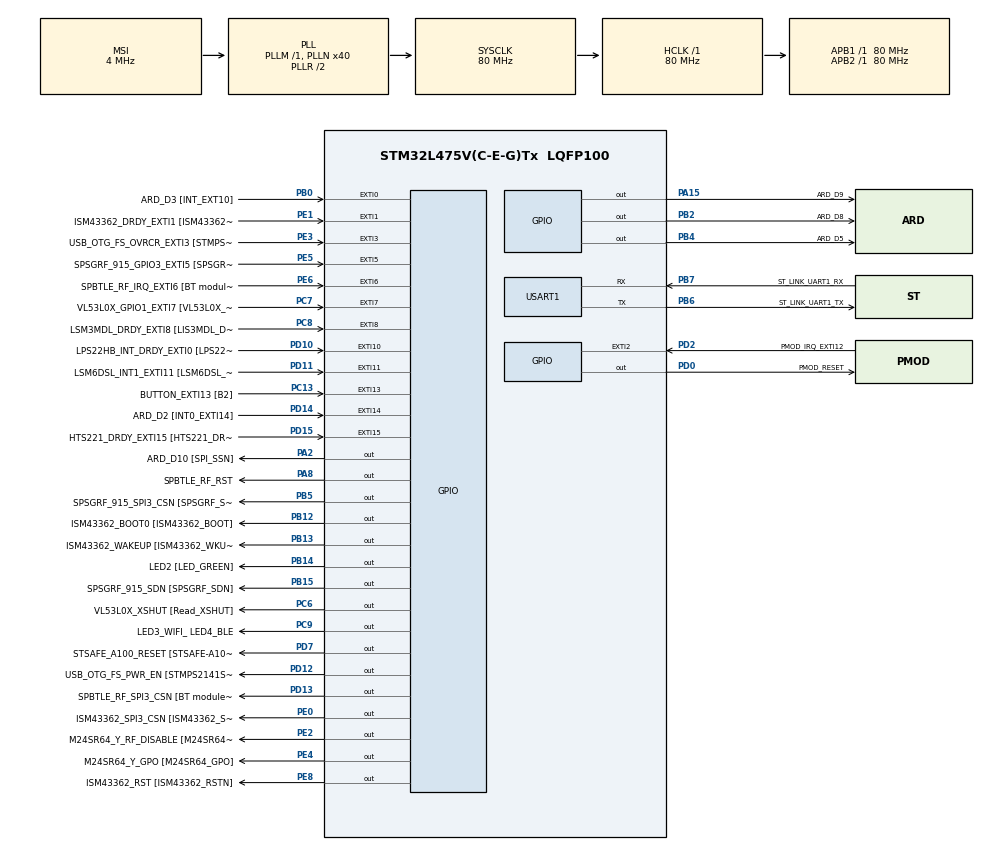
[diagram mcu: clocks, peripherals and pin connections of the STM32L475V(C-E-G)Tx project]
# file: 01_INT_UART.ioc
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Mcu.Family=STM32L4
Mcu.Name=STM32L475V(C-E-G)Tx
Mcu.Package=LQFP100
NVIC.EXTI15_10_IRQn=true\:0\:0\:false\:false\:true\:true\:true
NVIC.EXTI9_5_IRQn=true\:0\:0\:false\:false\:true\:true\:true
NVIC.PriorityGroup=NVIC_PRIORITYGROUP_4
NVIC.USART1_IRQn=true\:0\:0\:false\:false\:true\:true\:true
PA0.GPIO_Label=ARD_D1 [UART4_TX]
PA0.Signal=UART4_TX
PA1.GPIO_Label=ARD_D0 [UART4_RX]
PA1.Signal=UART4_RX
PA10.GPIO_Label=USB_OTG_FS_ID
PA10.Signal=USB_OTG_FS_ID
PA11.GPIO_Label=USB_OTG_FS_DM
PA11.Signal=USB_OTG_FS_DM
PA12.GPIO_Label=USB_OTG_FS_DP
PA12.Signal=USB_OTG_FS_DP
PA13\ (JTMS-SWDIO).GPIO_Label=SYS_JTMS_SWDIO
PA13\ (JTMS-SWDIO).Mode=Serial_Wire
PA13\ (JTMS-SWDIO).Signal=SYS_JTMS-SWDIO
PA14\ (JTCK-SWCLK).GPIO_Label=SYS_JTCK_SWCLK
PA14\ (JTCK-SWCLK).Mode=Serial_Wire
PA14\ (JTCK-SWCLK).Signal=SYS_JTCK-SWCLK
PA15\ (JTDI).GPIO_Label=ARD_D9
PA15\ (JTDI).Signal=GPIO_Output
PA2.GPIO_Label=ARD_D10 [SPI_SSN]
PA2.Signal=GPIO_Output
PA3.GPIO_Label=ARD_D4
PA3.Signal=S_TIM2_CH4
PA4.GPIO_Label=ARD_D7
PA4.Signal=ADCx_IN9
PA5.GPIO_Label=ARD_D13 [SPI1_SCK]
PA5.Signal=SPI1_SCK
PA6.GPIO_Label=ARD_D12 [SPI1_MISO]
PA6.Signal=SPI1_MISO
PA7.GPIO_Label=ARD_D11 [SPI1_MOSI]
PA7.Signal=SPI1_MOSI
PA8.GPIO_Label=SPBTLE_RF_RST
PA8.Signal=GPIO_Output
PA9.GPIO_Label=USB_OTG_FS_VBUS [STMPS2141STR_OUT]
PA9.Signal=USB_OTG_FS_VBUS
PB0.GPIO_Label=ARD_D3 [INT_EXT10]
PB0.Signal=GPXTI0
PB1.GPIO_Label=ARD_D6 [ADC1_IN6]
PB1.Signal=ADCx_IN16
PB10.GPIO_Label=INTERNAL_I2C2_SCL [VL53L0X_SCL]
PB10.Signal=I2C2_SCL
PB11.GPIO_Label=INTERNAL_I2C2_SDA [VL53L0X_SDA]
PB11.Signal=I2C2_SDA
PB12.GPIO_Label=ISM43362_BOOT0 [ISM43362_BOOT]
PB12.Signal=GPIO_Output
PB13.GPIO_Label=ISM43362_WAKEUP [ISM43362_WKUP]
PB13.Signal=GPIO_Output
PB14.GPIO_Label=LED2 [LED_GREEN]
PB14.Signal=GPIO_Output
PB15.GPIO_Label=SPSGRF_915_SDN [SPSGRF_SDN]
PB15.Signal=GPIO_Output
PB2.GPIO_Label=ARD_D8
PB2.Signal=GPIO_Output
PB3\ (JTDO-TRACESWO).GPIO_Label=SYS_JTD0_SWO
PB3\ (JTDO-TRACESWO).Signal=SYS_JTDO-SWO
PB4\ (NJTRST).GPIO_Label=ARD_D5
PB4\ (NJTRST).Signal=GPIO_Output
PB5.GPIO_Label=SPSGRF_915_SPI3_CSN [SPSGRF_SPI_CS]
PB5.PinState=GPIO_PIN_SET
PB5.Signal=GPIO_Output
PB6.GPIO_Label=ST_LINK_UART1_TX
PB6.Mode=Asynchronous
PB6.Signal=USART1_TX
PB7.GPIO_Label=ST_LINK_UART1_RX
PB7.Mode=Asynchronous
PB7.Signal=USART1_RX
PB8.GPIO_Label=ARD_D15 [I2C1_SCL]
PB8.Signal=I2C1_SCL
PB9.GPIO_Label=ARD_D14 [I2C1_SDA]
PB9.Signal=I2C1_SDA
PC0.GPIO_Label=ARD_A5 [ADC]
PC0.Signal=ADCx_IN1
PC1.GPIO_Label=ARD_A4 [ADC]
PC1.Signal=ADCx_IN2
PC10.GPIO_Label=INTERNAL_SPI3_SCK [BT module_SPI_SCLK] [ISM43362_SCK]
PC10.Signal=SPI3_SCK
PC11.GPIO_Label=INTERNAL_SPI3_MISO [BT module_SPI_MISO] [ISM43362_MISO]
PC11.Signal=SPI3_MISO
PC12.GPIO_Label=INTERNAL_SPI3_MOSI [BT module_SPI_MOSI] [ISM43362_MOSI]
PC12.Signal=SPI3_MOSI
PC13.GPIO_Label=BUTTON_EXTI13 [B2]
PC13.GPIO_ModeDefaultEXTI=GPIO_MODE_IT_FALLING
PC13.Signal=GPXTI13
PC14-OSC32_IN\ (PC14).Signal=RCC_OSC32_IN
PC15-OSC32_OUT\ (PC15).Signal=RCC_OSC32_OUT
PC2.GPIO_Label=ARD_A3 [ADC]
PC2.Signal=ADCx_IN3
PC3.GPIO_Label=ARD_A2 [ADC]
PC3.Signal=ADCx_IN4
PC4.GPIO_Label=ARD_A1 [ADC]
PC4.Signal=ADCx_IN13
PC5.GPIO_Label=ARD_A0 [ADC]
PC5.Signal=ADCx_IN14
PC6.GPIO_Label=VL53L0X_XSHUT [Read_XSHUT]
PC6.Signal=GPIO_Output
PC7.GPIO_Label=VL53L0X_GPIO1_EXTI7 [VL53L0X_GPIO1]
PC7.Signal=GPXTI7
PC8.GPIO_Label=LSM3MDL_DRDY_EXTI8 [LIS3MDL_DRDY]
PC8.Signal=GPXTI8
PC9.GPIO_Label=LED3_WIFI_ LED4_BLE
PC9.Signal=GPIO_Output
PD0.GPIO_Label=PMOD_RESET
PD0.Signal=GPIO_Output
PD1.GPIO_Label=PMOD_SPI2_SCK
PD1.Signal=SPI2_SCK
PD10.GPIO_Label=LPS22HB_INT_DRDY_EXTI0 [LPS22HB_INT_DRDY] 
PD10.Signal=GPXTI10
PD11.GPIO_Label=LSM6DSL_INT1_EXTI11 [LSM6DSL_INT1]
PD11.Signal=GPXTI11
PD12.GPIO_Label=USB_OTG_FS_PWR_EN [STMPS2141STR_EN]
PD12.Signal=GPIO_Output
PD13.GPIO_Label=SPBTLE_RF_SPI3_CSN [BT module_SPI_CS]
PD13.PinState=GPIO_PIN_SET
PD13.Signal=GPIO_Output
PD14.GPIO_Label=ARD_D2 [INT0_EXTI14]
PD14.Signal=GPXTI14
PD15.GPIO_Label=HTS221_DRDY_EXTI15 [HTS221_DRDY]
PD15.Signal=GPXTI15
PD2.GPIO_Label=PMOD_IRQ_EXTI12
PD2.Signal=GPXTI2
PD3.GPIO_Label=PMOD_UART2_CTS
PD3.Signal=USART2_CTS
PD4.GPIO_Label=PMOD_UART2_RTS
PD4.Signal=USART2_RTS
PD5.GPIO_Label=PMOD_UART2_TX
PD5.Signal=USART2_TX
PD6.GPIO_Label=PMOD_UART2_RX
PD6.Signal=USART2_RX
PD7.GPIO_Label=STSAFE_A100_RESET [STSAFE-A100_RESET]
PD7.Signal=GPIO_Output
PD8.GPIO_Label=INTERNAL_UART3_TX [ISM43362_RX]
PD8.Signal=USART3_TX
PD9.GPIO_Label=INTERNAL_UART3_RX [ISM43362_TX]
PD9.Signal=USART3_RX
PE0.GPIO_Label=ISM43362_SPI3_CSN [ISM43362_SSN]
PE0.PinState=GPIO_PIN_SET
PE0.Signal=GPIO_Output
PE1.GPIO_Label=ISM43362_DRDY_EXTI1 [ISM43362_DATARDY]
PE1.Signal=GPXTI1
PE10.GPIO_Label=QUADSPI_CLK [MX25R6435F_SCLK]
PE10.Signal=QUADSPI_CLK
PE11.GPIO_Label=QUADSPI_NCS [MX25R6435F_SCLK]
PE11.Signal=QUADSPI_NCS
PE12.GPIO_Label=OQUADSPI_BK1_IO0 [MX25R6435F_IO0]
PE12.Signal=QUADSPI_BK1_IO0
PE13.GPIO_Label=QUADSPI_BK1_IO1 [MX25R6435F_IO1]
PE13.Signal=QUADSPI_BK1_IO1
PE14.GPIO_Label=QUAD_SPI_BK1_IO2 [MX25R6435F_IO2]
PE14.Signal=QUADSPI_BK1_IO2
PE15.GPIO_Label=QUAD_SPI_BK1_IO3 [MX25R6435F_IO3]
PE15.Signal=QUADSPI_BK1_IO3
PE2.GPIO_Label=M24SR64_Y_RF_DISABLE [M24SR64_RFDIS]
PE2.Signal=GPIO_Output
PE3.GPIO_Label=USB_OTG_FS_OVRCR_EXTI3 [STMPS2141STR_FAULT]
PE3.Signal=GPXTI3
PE4.GPIO_Label=M24SR64_Y_GPO [M24SR64_GPO]
PE4.Signal=GPIO_Output
PE5.GPIO_Label=SPSGRF_915_GPIO3_EXTI5 [SPSGRF_GPIO_3]
PE5.Signal=GPXTI5
PE6.GPIO_Label=SPBTLE_RF_IRQ_EXTI6 [BT module_SPI_IRQ]
PE6.Signal=GPXTI6
PE7.GPIO_Label=DFSDM1_DATIN2 [MP34DT01_DOUT]
PE7.Signal=S_DATAIN2DFSDM1
PE8.GPIO_Label=ISM43362_RST [ISM43362_RSTN]
PE8.Signal=GPIO_Output
PE9.GPIO_Label=DFSDM1_CKOUT [MP34DT01_CLK]
PE9.Signal=S_CKOUTDFSDM1
ProjectManager.HeapSize=0x200
ProjectManager.StackSize=0x400
ProjectManager.TargetToolchain=STM32CubeIDE
RCC.ADCFreq_Value=48000000
RCC.AHBFreq_Value=80000000
RCC.APB1Freq_Value=80000000
RCC.APB1TimFreq_Value=80000000
RCC.APB2Freq_Value=80000000
RCC.APB2TimFreq_Value=80000000
RCC.CortexFreq_Value=80000000
RCC.HCLKFreq_Value=80000000
RCC.HSE_VALUE=8000000
RCC.HSI_VALUE=16000000
RCC.LSE_VALUE=32768
RCC.MSI_VALUE=4000000
RCC.PLLN=40
RCC.PLLSAI1N=24
RCC.SYSCLKFreq_VALUE=80000000
RCC.SYSCLKSource=RCC_SYSCLKSOURCE_PLLCLK
RCC.USBFreq_Value=48000000
RCC.VCOOutputFreq_Value=160000000
SH.ADCx_IN1.0=ADC1_IN1
SH.ADCx_IN13.0=ADC1_IN13
SH.ADCx_IN14.0=ADC1_IN14
SH.ADCx_IN16.0=ADC1_IN16
SH.ADCx_IN2.0=ADC1_IN2
SH.ADCx_IN3.0=ADC1_IN3
SH.ADCx_IN4.0=ADC1_IN4
SH.ADCx_IN9.0=ADC1_IN9
SH.S_CKOUTDFSDM1.0=DFSDM1_CKOUT
SH.S_DATAIN2DFSDM1.0=DFSDM1_DATIN2
SH.S_TIM2_CH4.0=TIM2_CH4
USART1.VirtualMode-Asynchronous=VM_ASYNC
board=B-L475E-IOT01A1

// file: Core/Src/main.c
/* USER CODE BEGIN Header */
/**
  ******************************************************************************
  * @file           : main.c
  * @brief          : Main program body
  ******************************************************************************
  * @attention
  *
  * <h2><center>&copy; Copyright (c) 2022 STMicroelectronics.
  * All rights reserved.</center></h2>
  *
  * This software component is licensed by ST under BSD 3-Clause license,
  * the "License"; You may not use this file except in compliance with the
  * License. You may obtain a copy of the License at:
  *                        opensource.org/licenses/BSD-3-Clause
  *
  ******************************************************************************
  */
/* USER CODE END Header */
#include "main.h"

/* USER CODE BEGIN Includes */
#include"stdio.h"
#include"string.h"
/* USER CODE END Includes */

/* USER CODE BEGIN PD */
#define SIZE_OF_RX_BUFF 20
/* USER CODE END PD */

UART_HandleTypeDef huart1;

/* USER CODE BEGIN PV */
//char TxBuffer[]="HELLO UART1 INT..!!\r\n";
//char RxBuffer[20]={0};
uint8_t TxBuffer[]="HELLO UART1 INT..!!\r\n";
uint8_t UART1_rxBuffer[SIZE_OF_RX_BUFF] = {0};
uint8_t size1=0;
uint8_t count=0;
/* USER CODE END PV */

void SystemClock_Config(void);
static void MX_GPIO_Init(void);
static void MX_USART1_UART_Init(void);
/* USER CODE BEGIN PFP */
void HAL_UART_RxCpltCallback(UART_HandleTypeDef *huart)
{

	//HAL_UART_Transmit(&huart1,RxBuffer, 1, 100);
	//HAL_UART_Receive_IT(&huart1, RxBuffer, 12);

 // if (huart->Instance == huart1.Instance)
	/*if (huart->Instance == USART1)
	  {
		 count++;
		 HAL_UART_Receive_IT(&huart1, RxBuffer[count], 1);

				 Transmit with 100 ms timeout
				//HAL_UART_Transmit(&huart1,RxBuffer, 1, 100);
	  }*/
}
/* USER CODE END PFP */

int main(void)
{

  /* MCU Configuration--------------------------------------------------------*/

  /* Reset of all peripherals, Initializes the Flash interface and the Systick. */

	HAL_Init();

  /* Co
   * nfigure the system clock */
  SystemClock_Config();

  /* Initialize all configured peripherals */
  MX_GPIO_Init();
  MX_USART1_UART_Init();
  /* USER CODE BEGIN 2 */

  //first = RxBuffer;

  printf("print for debuging \n");
  HAL_UART_Transmit_IT(&huart1, TxBuffer, strlen(TxBuffer));
 // printf("\n%d\n",HAL_UART_Receive_IT(&huart1, RxBuffer, 20));
 // memset(RxBuffer, 0, size1);

  /* USER CODE END 2 */

  /* Infinite loop */
  while (1)
  {

    /* USER CODE BEGIN 3 */
	  HAL_UART_Receive_IT(&huart1, UART1_rxBuffer, 12);
	  size1 = strlen(UART1_rxBuffer);

	  if (UART1_rxBuffer[size1-1] == '\r')
	  {
		  UART1_rxBuffer[size1] = '\n';
		  HAL_UART_Transmit(&huart1, UART1_rxBuffer, SIZE_OF_RX_BUFF, 50);
		  memset(UART1_rxBuffer, 0, SIZE_OF_RX_BUFF);
		  //size1 = strlen(UART1_rxBuffer);
	  }

	  if(UART1_rxBuffer[size1] == '\r')
	  	  {
	  		 // size1 = strlen(UART1_rxBuffer);
		  	  UART1_rxBuffer[size1+1] = '\n';
			  HAL_UART_Transmit(&huart1, UART1_rxBuffer, SIZE_OF_RX_BUFF, 50);
			  memset(UART1_rxBuffer, 0, SIZE_OF_RX_BUFF);

	  	  }
  }

  /* USER CODE END 3 */
}

void SystemClock_Config(void)
{
  RCC_OscInitTypeDef RCC_OscInitStruct = {0};
  RCC_ClkInitTypeDef RCC_ClkInitStruct = {0};

  /** Configure the main internal regulator output voltage
  */
  if (HAL_PWREx_ControlVoltageScaling(PWR_REGULATOR_VOLTAGE_SCALE1) != HAL_OK)
  {
    Error_Handler();
  }
  /** Initializes the RCC Oscillators according to the specified parameters
  * in the RCC_OscInitTypeDef structure.
  */
  RCC_OscInitStruct.OscillatorType = RCC_OSCILLATORTYPE_MSI;
  RCC_OscInitStruct.MSIState = RCC_MSI_ON;
  RCC_OscInitStruct.MSICalibrationValue = 0;
  RCC_OscInitStruct.MSIClockRange = RCC_MSIRANGE_6;
  RCC_OscInitStruct.PLL.PLLState = RCC_PLL_ON;
  RCC_OscInitStruct.PLL.PLLSource = RCC_PLLSOURCE_MSI;
  RCC_OscInitStruct.PLL.PLLM = 1;
  RCC_OscInitStruct.PLL.PLLN = 40;
  RCC_OscInitStruct.PLL.PLLP = RCC_PLLP_DIV7;
  RCC_OscInitStruct.PLL.PLLQ = RCC_PLLQ_DIV2;
  RCC_OscInitStruct.PLL.PLLR = RCC_PLLR_DIV2;
  if (HAL_RCC_OscConfig(&RCC_OscInitStruct) != HAL_OK)
  {
    Error_Handler();
  }
  /** Initializes the CPU, AHB and APB buses clocks
  */
  RCC_ClkInitStruct.ClockType = RCC_CLOCKTYPE_HCLK|RCC_CLOCKTYPE_SYSCLK
                              |RCC_CLOCKTYPE_PCLK1|RCC_CLOCKTYPE_PCLK2;
  RCC_ClkInitStruct.SYSCLKSource = RCC_SYSCLKSOURCE_PLLCLK;
  RCC_ClkInitStruct.AHBCLKDivider = RCC_SYSCLK_DIV1;
  RCC_ClkInitStruct.APB1CLKDivider = RCC_HCLK_DIV1;
  RCC_ClkInitStruct.APB2CLKDivider = RCC_HCLK_DIV1;

  if (HAL_RCC_ClockConfig(&RCC_ClkInitStruct, FLASH_LATENCY_4) != HAL_OK)
  {
    Error_Handler();
  }
}

static void MX_USART1_UART_Init(void)
{

  huart1.Instance = USART1;
  huart1.Init.BaudRate = 115200;
  huart1.Init.WordLength = UART_WORDLENGTH_8B;
  huart1.Init.StopBits = UART_STOPBITS_1;
  huart1.Init.Parity = UART_PARITY_NONE;
  huart1.Init.Mode = UART_MODE_TX_RX;
  huart1.Init.HwFlowCtl = UART_HWCONTROL_NONE;
  huart1.Init.OverSampling = UART_OVERSAMPLING_16;
  huart1.Init.OneBitSampling = UART_ONE_BIT_SAMPLE_DISABLE;
  huart1.AdvancedInit.AdvFeatureInit = UART_ADVFEATURE_NO_INIT;
  if (HAL_UART_Init(&huart1) != HAL_OK)
  {
    Error_Handler();
  }

}

static void MX_GPIO_Init(void)
{
  GPIO_InitTypeDef GPIO_InitStruct = {0};

  /* GPIO Ports Clock Enable */
  __HAL_RCC_GPIOE_CLK_ENABLE();
  __HAL_RCC_GPIOC_CLK_ENABLE();
  __HAL_RCC_GPIOA_CLK_ENABLE();
  __HAL_RCC_GPIOB_CLK_ENABLE();
  __HAL_RCC_GPIOD_CLK_ENABLE();

  /*Configure GPIO pin Output Level */
  HAL_GPIO_WritePin(GPIOE, M24SR64_Y_RF_DISABLE_Pin|M24SR64_Y_GPO_Pin|ISM43362_RST_Pin, GPIO_PIN_RESET);

  /*Configure GPIO pin Output Level */
  HAL_GPIO_WritePin(GPIOA, ARD_D10_Pin|SPBTLE_RF_RST_Pin|ARD_D9_Pin, GPIO_PIN_RESET);

  /*Configure GPIO pin Output Level */
  HAL_GPIO_WritePin(GPIOB, ARD_D8_Pin|ISM43362_BOOT0_Pin|ISM43362_WAKEUP_Pin|LED2_Pin
                          |SPSGRF_915_SDN_Pin|ARD_D5_Pin, GPIO_PIN_RESET);

  /*Configure GPIO pin Output Level */
  HAL_GPIO_WritePin(GPIOD, USB_OTG_FS_PWR_EN_Pin|PMOD_RESET_Pin|STSAFE_A100_RESET_Pin, GPIO_PIN_RESET);

  /*Configure GPIO pin Output Level */
  HAL_GPIO_WritePin(SPBTLE_RF_SPI3_CSN_GPIO_Port, SPBTLE_RF_SPI3_CSN_Pin, GPIO_PIN_SET);

  /*Configure GPIO pin Output Level */
  HAL_GPIO_WritePin(GPIOC, VL53L0X_XSHUT_Pin|LED3_WIFI__LED4_BLE_Pin, GPIO_PIN_RESET);

  /*Configure GPIO pin Output Level */
  HAL_GPIO_WritePin(SPSGRF_915_SPI3_CSN_GPIO_Port, SPSGRF_915_SPI3_CSN_Pin, GPIO_PIN_SET);

  /*Configure GPIO pin Output Level */
  HAL_GPIO_WritePin(ISM43362_SPI3_CSN_GPIO_Port, ISM43362_SPI3_CSN_Pin, GPIO_PIN_SET);

  /*Configure GPIO pins : M24SR64_Y_RF_DISABLE_Pin M24SR64_Y_GPO_Pin ISM43362_RST_Pin ISM43362_SPI3_CSN_Pin */
  GPIO_InitStruct.Pin = M24SR64_Y_RF_DISABLE_Pin|M24SR64_Y_GPO_Pin|ISM43362_RST_Pin|ISM43362_SPI3_CSN_Pin;
  GPIO_InitStruct.Mode = GPIO_MODE_OUTPUT_PP;
  GPIO_InitStruct.Pull = GPIO_NOPULL;
  GPIO_InitStruct.Speed = GPIO_SPEED_FREQ_LOW;
  HAL_GPIO_Init(GPIOE, &GPIO_InitStruct);

  /*Configure GPIO pins : USB_OTG_FS_OVRCR_EXTI3_Pin SPSGRF_915_GPIO3_EXTI5_Pin SPBTLE_RF_IRQ_EXTI6_Pin ISM43362_DRDY_EXTI1_Pin */
  GPIO_InitStruct.Pin = USB_OTG_FS_OVRCR_EXTI3_Pin|SPSGRF_915_GPIO3_EXTI5_Pin|SPBTLE_RF_IRQ_EXTI6_Pin|ISM43362_DRDY_EXTI1_Pin;
  GPIO_InitStruct.Mode = GPIO_MODE_IT_RISING;
  GPIO_InitStruct.Pull = GPIO_NOPULL;
  HAL_GPIO_Init(GPIOE, &GPIO_InitStruct);

  /*Configure GPIO pin : BUTTON_EXTI13_Pin */
  GPIO_InitStruct.Pin = BUTTON_EXTI13_Pin;
  GPIO_InitStruct.Mode = GPIO_MODE_IT_FALLING;
  GPIO_InitStruct.Pull = GPIO_NOPULL;
  HAL_GPIO_Init(BUTTON_EXTI13_GPIO_Port, &GPIO_InitStruct);

  /*Configure GPIO pins : ARD_A5_Pin ARD_A4_Pin ARD_A3_Pin ARD_A2_Pin
                           ARD_A1_Pin ARD_A0_Pin */
  GPIO_InitStruct.Pin = ARD_A5_Pin|ARD_A4_Pin|ARD_A3_Pin|ARD_A2_Pin
                          |ARD_A1_Pin|ARD_A0_Pin;
  GPIO_InitStruct.Mode = GPIO_MODE_ANALOG_ADC_CONTROL;
  GPIO_InitStruct.Pull = GPIO_NOPULL;
  HAL_GPIO_Init(GPIOC, &GPIO_InitStruct);

  /*Configure GPIO pins : ARD_D1_Pin ARD_D0_Pin */
  GPIO_InitStruct.Pin = ARD_D1_Pin|ARD_D0_Pin;
  GPIO_InitStruct.Mode = GPIO_MODE_AF_PP;
  GPIO_InitStruct.Pull = GPIO_NOPULL;
  GPIO_InitStruct.Speed = GPIO_SPEED_FREQ_VERY_HIGH;
  GPIO_InitStruct.Alternate = GPIO_AF8_UART4;
  HAL_GPIO_Init(GPIOA, &GPIO_InitStruct);

  /*Configure GPIO pins : ARD_D10_Pin SPBTLE_RF_RST_Pin ARD_D9_Pin */
  GPIO_InitStruct.Pin = ARD_D10_Pin|SPBTLE_RF_RST_Pin|ARD_D9_Pin;
  GPIO_InitStruct.Mode = GPIO_MODE_OUTPUT_PP;
  GPIO_InitStruct.Pull = GPIO_NOPULL;
  GPIO_InitStruct.Speed = GPIO_SPEED_FREQ_LOW;
  HAL_GPIO_Init(GPIOA, &GPIO_InitStruct);

  /*Configure GPIO pin : ARD_D4_Pin */
  GPIO_InitStruct.Pin = ARD_D4_Pin;
  GPIO_InitStruct.Mode = GPIO_MODE_AF_PP;
  GPIO_InitStruct.Pull = GPIO_NOPULL;
  GPIO_InitStruct.Speed = GPIO_SPEED_FREQ_LOW;
  GPIO_InitStruct.Alternate = GPIO_AF1_TIM2;
  HAL_GPIO_Init(ARD_D4_GPIO_Port, &GPIO_InitStruct);

  /*Configure GPIO pin : ARD_D7_Pin */
  GPIO_InitStruct.Pin = ARD_D7_Pin;
  GPIO_InitStruct.Mode = GPIO_MODE_ANALOG_ADC_CONTROL;
  GPIO_InitStruct.Pull = GPIO_NOPULL;
  HAL_GPIO_Init(ARD_D7_GPIO_Port, &GPIO_InitStruct);

  /*Configure GPIO pins : ARD_D13_Pin ARD_D12_Pin ARD_D11_Pin */
  GPIO_InitStruct.Pin = ARD_D13_Pin|ARD_D12_Pin|ARD_D11_Pin;
  GPIO_InitStruct.Mode = GPIO_MODE_AF_PP;
  GPIO_InitStruct.Pull = GPIO_NOPULL;
  GPIO_InitStruct.Speed = GPIO_SPEED_FREQ_VERY_HIGH;
  GPIO_InitStruct.Alternate = GPIO_AF5_SPI1;
  HAL_GPIO_Init(GPIOA, &GPIO_InitStruct);

  /*Configure GPIO pin : ARD_D3_Pin */
  GPIO_InitStruct.Pin = ARD_D3_Pin;
  GPIO_InitStruct.Mode = GPIO_MODE_IT_RISING;
  GPIO_InitStruct.Pull = GPIO_NOPULL;
  HAL_GPIO_Init(ARD_D3_GPIO_Port, &GPIO_InitStruct);

  /*Configure GPIO pin : ARD_D6_Pin */
  GPIO_InitStruct.Pin = ARD_D6_Pin;
  GPIO_InitStruct.Mode = GPIO_MODE_ANALOG_ADC_CONTROL;
  GPIO_InitStruct.Pull = GPIO_NOPULL;
  HAL_GPIO_Init(ARD_D6_GPIO_Port, &GPIO_InitStruct);

  /*Configure GPIO pins : ARD_D8_Pin ISM43362_BOOT0_Pin ISM43362_WAKEUP_Pin LED2_Pin
                           SPSGRF_915_SDN_Pin ARD_D5_Pin SPSGRF_915_SPI3_CSN_Pin */
  GPIO_InitStruct.Pin = ARD_D8_Pin|ISM43362_BOOT0_Pin|ISM43362_WAKEUP_Pin|LED2_Pin
                          |SPSGRF_915_SDN_Pin|ARD_D5_Pin|SPSGRF_915_SPI3_CSN_Pin;
  GPIO_InitStruct.Mode = GPIO_MODE_OUTPUT_PP;
  GPIO_InitStruct.Pull = GPIO_NOPULL;
  GPIO_InitStruct.Speed = GPIO_SPEED_FREQ_LOW;
  HAL_GPIO_Init(GPIOB, &GPIO_InitStruct);

  /*Configure GPIO pins : DFSDM1_DATIN2_Pin DFSDM1_CKOUT_Pin */
  GPIO_InitStruct.Pin = DFSDM1_DATIN2_Pin|DFSDM1_CKOUT_Pin;
  GPIO_InitStruct.Mode = GPIO_MODE_AF_PP;
  GPIO_InitStruct.Pull = GPIO_NOPULL;
  GPIO_InitStruct.Speed = GPIO_SPEED_FREQ_LOW;
  GPIO_InitStruct.Alternate = GPIO_AF6_DFSDM1;
  HAL_GPIO_Init(GPIOE, &GPIO_InitStruct);

  /*Configure GPIO pins : QUADSPI_CLK_Pin QUADSPI_NCS_Pin OQUADSPI_BK1_IO0_Pin QUADSPI_BK1_IO1_Pin
                           QUAD_SPI_BK1_IO2_Pin QUAD_SPI_BK1_IO3_Pin */
  GPIO_InitStruct.Pin = QUADSPI_CLK_Pin|QUADSPI_NCS_Pin|OQUADSPI_BK1_IO0_Pin|QUADSPI_BK1_IO1_Pin
                          |QUAD_SPI_BK1_IO2_Pin|QUAD_SPI_BK1_IO3_Pin;
  GPIO_InitStruct.Mode = GPIO_MODE_AF_PP;
  GPIO_InitStruct.Pull = GPIO_NOPULL;
  GPIO_InitStruct.Speed = GPIO_SPEED_FREQ_VERY_HIGH;
  GPIO_InitStruct.Alternate = GPIO_AF10_QUADSPI;
  HAL_GPIO_Init(GPIOE, &GPIO_InitStruct);

  /*Configure GPIO pins : INTERNAL_I2C2_SCL_Pin INTERNAL_I2C2_SDA_Pin */
  GPIO_InitStruct.Pin = INTERNAL_I2C2_SCL_Pin|INTERNAL_I2C2_SDA_Pin;
  GPIO_InitStruct.Mode = GPIO_MODE_AF_OD;
  GPIO_InitStruct.Pull = GPIO_NOPULL;
  GPIO_InitStruct.Speed = GPIO_SPEED_FREQ_VERY_HIGH;
  GPIO_InitStruct.Alternate = GPIO_AF4_I2C2;
  HAL_GPIO_Init(GPIOB, &GPIO_InitStruct);

  /*Configure GPIO pins : INTERNAL_UART3_TX_Pin INTERNAL_UART3_RX_Pin */
  GPIO_InitStruct.Pin = INTERNAL_UART3_TX_Pin|INTERNAL_UART3_RX_Pin;
  GPIO_InitStruct.Mode = GPIO_MODE_AF_PP;
  GPIO_InitStruct.Pull = GPIO_NOPULL;
  GPIO_InitStruct.Speed = GPIO_SPEED_FREQ_VERY_HIGH;
  GPIO_InitStruct.Alternate = GPIO_AF7_USART3;
  HAL_GPIO_Init(GPIOD, &GPIO_InitStruct);

  /*Configure GPIO pins : LPS22HB_INT_DRDY_EXTI0_Pin LSM6DSL_INT1_EXTI11_Pin ARD_D2_Pin HTS221_DRDY_EXTI15_Pin
                           PMOD_IRQ_EXTI12_Pin */
  GPIO_InitStruct.Pin = LPS22HB_INT_DRDY_EXTI0_Pin|LSM6DSL_INT1_EXTI11_Pin|ARD_D2_Pin|HTS221_DRDY_EXTI15_Pin
                          |PMOD_IRQ_EXTI12_Pin;
  GPIO_InitStruct.Mode = GPIO_MODE_IT_RISING;
  GPIO_InitStruct.Pull = GPIO_NOPULL;
  HAL_GPIO_Init(GPIOD, &GPIO_InitStruct);

  /*Configure GPIO pins : USB_OTG_FS_PWR_EN_Pin SPBTLE_RF_SPI3_CSN_Pin PMOD_RESET_Pin STSAFE_A100_RESET_Pin */
  GPIO_InitStruct.Pin = USB_OTG_FS_PWR_EN_Pin|SPBTLE_RF_SPI3_CSN_Pin|PMOD_RESET_Pin|STSAFE_A100_RESET_Pin;
  GPIO_InitStruct.Mode = GPIO_MODE_OUTPUT_PP;
  GPIO_InitStruct.Pull = GPIO_NOPULL;
  GPIO_InitStruct.Speed = GPIO_SPEED_FREQ_LOW;
  HAL_GPIO_Init(GPIOD, &GPIO_InitStruct);

  /*Configure GPIO pins : VL53L0X_XSHUT_Pin LED3_WIFI__LED4_BLE_Pin */
  GPIO_InitStruct.Pin = VL53L0X_XSHUT_Pin|LED3_WIFI__LED4_BLE_Pin;
  GPIO_InitStruct.Mode = GPIO_MODE_OUTPUT_PP;
  GPIO_InitStruct.Pull = GPIO_NOPULL;
  GPIO_InitStruct.Speed = GPIO_SPEED_FREQ_LOW;
  HAL_GPIO_Init(GPIOC, &GPIO_InitStruct);

  /*Configure GPIO pins : VL53L0X_GPIO1_EXTI7_Pin LSM3MDL_DRDY_EXTI8_Pin */
  GPIO_InitStruct.Pin = VL53L0X_GPIO1_EXTI7_Pin|LSM3MDL_DRDY_EXTI8_Pin;
  GPIO_InitStruct.Mode = GPIO_MODE_IT_RISING;
  GPIO_InitStruct.Pull = GPIO_NOPULL;
  HAL_GPIO_Init(GPIOC, &GPIO_InitStruct);

  /*Configure GPIO pin : USB_OTG_FS_VBUS_Pin */
  GPIO_InitStruct.Pin = USB_OTG_FS_VBUS_Pin;
  GPIO_InitStruct.Mode = GPIO_MODE_INPUT;
  GPIO_InitStruct.Pull = GPIO_NOPULL;
  HAL_GPIO_Init(USB_OTG_FS_VBUS_GPIO_Port, &GPIO_InitStruct);

  /*Configure GPIO pins : USB_OTG_FS_ID_Pin USB_OTG_FS_DM_Pin USB_OTG_FS_DP_Pin */
  GPIO_InitStruct.Pin = USB_OTG_FS_ID_Pin|USB_OTG_FS_DM_Pin|USB_OTG_FS_DP_Pin;
  GPIO_InitStruct.Mode = GPIO_MODE_AF_PP;
  GPIO_InitStruct.Pull = GPIO_NOPULL;
  GPIO_InitStruct.Speed = GPIO_SPEED_FREQ_VERY_HIGH;
  GPIO_InitStruct.Alternate = GPIO_AF10_OTG_FS;
  HAL_GPIO_Init(GPIOA, &GPIO_InitStruct);

  /*Configure GPIO pins : INTERNAL_SPI3_SCK_Pin INTERNAL_SPI3_MISO_Pin INTERNAL_SPI3_MOSI_Pin */
  GPIO_InitStruct.Pin = INTERNAL_SPI3_SCK_Pin|INTERNAL_SPI3_MISO_Pin|INTERNAL_SPI3_MOSI_Pin;
  GPIO_InitStruct.Mode = GPIO_MODE_AF_PP;
  GPIO_InitStruct.Pull = GPIO_NOPULL;
  GPIO_InitStruct.Speed = GPIO_SPEED_FREQ_VERY_HIGH;
  GPIO_InitStruct.Alternate = GPIO_AF6_SPI3;
  HAL_GPIO_Init(GPIOC, &GPIO_InitStruct);

  /*Configure GPIO pin : PMOD_SPI2_SCK_Pin */
  GPIO_InitStruct.Pin = PMOD_SPI2_SCK_Pin;
  GPIO_InitStruct.Mode = GPIO_MODE_AF_PP;
  GPIO_InitStruct.Pull = GPIO_NOPULL;
  GPIO_InitStruct.Speed = GPIO_SPEED_FREQ_VERY_HIGH;
  GPIO_InitStruct.Alternate = GPIO_AF5_SPI2;
  HAL_GPIO_Init(PMOD_SPI2_SCK_GPIO_Port, &GPIO_InitStruct);

  /*Configure GPIO pins : PMOD_UART2_CTS_Pin PMOD_UART2_RTS_Pin PMOD_UART2_TX_Pin PMOD_UART2_RX_Pin */
  GPIO_InitStruct.Pin = PMOD_UART2_CTS_Pin|PMOD_UART2_RTS_Pin|PMOD_UART2_TX_Pin|PMOD_UART2_RX_Pin;
  GPIO_InitStruct.Mode = GPIO_MODE_AF_PP;
  GPIO_InitStruct.Pull = GPIO_NOPULL;
  GPIO_InitStruct.Speed = GPIO_SPEED_FREQ_VERY_HIGH;
  GPIO_InitStruct.Alternate = GPIO_AF7_USART2;
  HAL_GPIO_Init(GPIOD, &GPIO_InitStruct);

  /*Configure GPIO pins : ARD_D15_Pin ARD_D14_Pin */
  GPIO_InitStruct.Pin = ARD_D15_Pin|ARD_D14_Pin;
  GPIO_InitStruct.Mode = GPIO_MODE_AF_OD;
  GPIO_InitStruct.Pull = GPIO_NOPULL;
  GPIO_InitStruct.Speed = GPIO_SPEED_FREQ_VERY_HIGH;
  GPIO_InitStruct.Alternate = GPIO_AF4_I2C1;
  HAL_GPIO_Init(GPIOB, &GPIO_InitStruct);

  /* EXTI interrupt init*/
  HAL_NVIC_SetPriority(EXTI9_5_IRQn, 0, 0);
  HAL_NVIC_EnableIRQ(EXTI9_5_IRQn);

  HAL_NVIC_SetPriority(EXTI15_10_IRQn, 0, 0);
  HAL_NVIC_EnableIRQ(EXTI15_10_IRQn);

}

/* USER CODE BEGIN 4 */
/*
void HAL_UART_RxCpltCallback(UART_HandleTypeDef *huart)
{

	//HAL_UART_Receive_IT(&huart1, UART1_rxBuffer, SIZE_OF_RX_BUFF);
	//_NOP();

}

*/

void HAL_UART_TxCpltCallback(UART_HandleTypeDef *huart)
{
	//memset(RxBuffer, 0 ,  strlen(RxBuffer));	//_NOP();
	//memset(RxBuffer, 0, RxBuffer * (sizeof RxBuffer\[0]) );
	//printf("\nin call back fun \n");

	HAL_UART_Receive_IT(&huart1, UART1_rxBuffer, SIZE_OF_RX_BUFF);
	//memset(RxBuffer, 0, SIZE_OF_RX_BUFF);
}

/* USER CODE END 4 */

void Error_Handler(void)
{
  __disable_irq();
  while (1)
  {
  }
}

/************************ (C) COPYRIGHT STMicroelectronics *****END OF FILE****/
